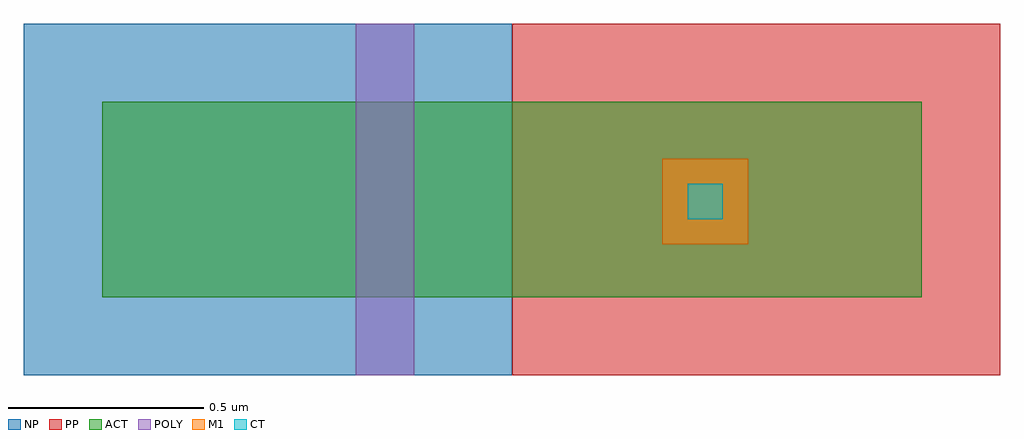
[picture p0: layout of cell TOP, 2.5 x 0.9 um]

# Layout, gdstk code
import gdstk
lib = gdstk.Library(unit=1e-6, precision=1e-09)
def R(c, l, rs):  # rectangles x0, y0, x1, y1
    for r in rs: c.add(gdstk.rectangle(r[:2], r[2:], *l))
ACT = (2, 1)
POLY = (41, 1)
NP = (52, 1)
PP = (53, 1)
CT = (72, 1)
M1 = (81, 1)

top = lib.new_cell('TOP')
R(top, ACT, [(0,0,2.1,0.5)])
R(top, POLY, [(0.65,-0.2,0.8,0.7)])
R(top, NP, [(-0.2,-0.2,1.05,0.7)])
R(top, PP, [(1.05,-0.2,2.3,0.7)])
R(top, CT, [(1.5,0.2,1.59,0.29)])
R(top, M1, [(1.435,0.135,1.655,0.355)])

lib.write_gds('TOP.gds')
